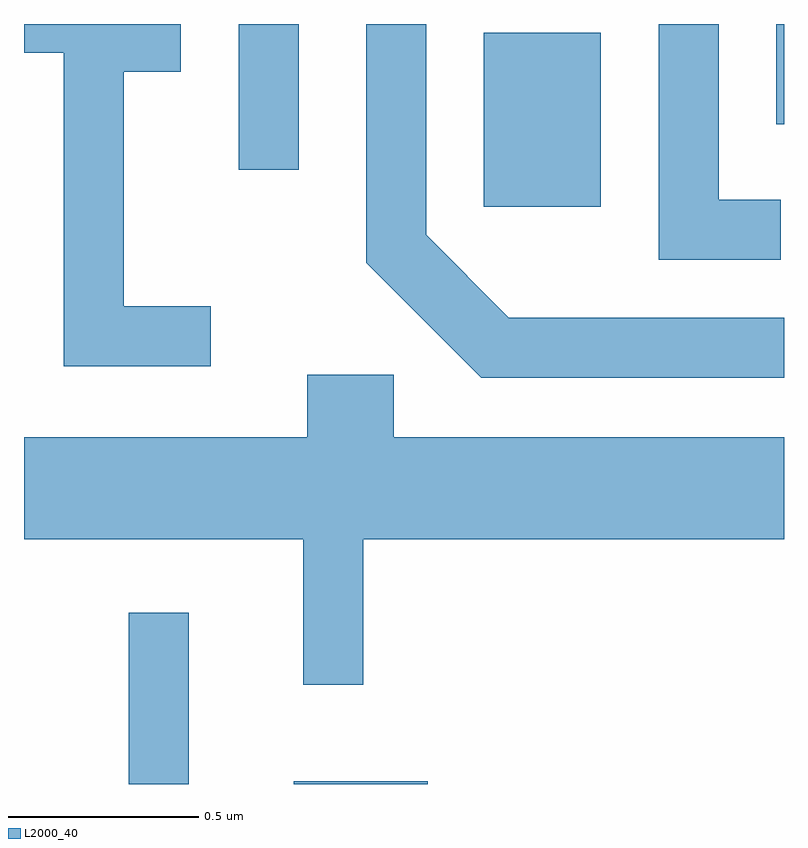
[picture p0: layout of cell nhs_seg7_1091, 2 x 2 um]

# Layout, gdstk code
import gdstk
lib = gdstk.Library(unit=1e-6, precision=1e-09)
def R(c, l, rs):  # rectangles x0, y0, x1, y1
    for r in rs: c.add(gdstk.rectangle(r[:2], r[2:], *l))
def P(c, l, *ps):  # polygons
    for p in ps: c.add(gdstk.Polygon(p, *l))
L2000_40 = (2000, 40)

nhs_seg7_1091 = lib.new_cell('nhs_seg7_1091')
R(nhs_seg7_1091, L2000_40, [(192.886,1800.252,193.044,1800.703), (193.321,1800.252,193.674,1800.259), (193.821,1801.771,194.129,1802.229), (193.176,1801.868,193.334,1802.252), (194.591,1801.988,194.611,1802.252)])
P(nhs_seg7_1091, L2000_40, [(194.603,1801.789),(194.439,1801.789),(194.439,1802.252),(194.281,1802.252),(194.281,1801.631),(194.603,1801.631)],
  [(193.103,1801.509),(192.874,1801.509),(192.874,1802.126),(193.024,1802.126),(193.024,1802.252),(192.611,1802.252),(192.611,1802.176),(192.716,1802.176),(192.716,1801.351),(193.103,1801.351)],
  [(194.611,1801.479),(193.887,1801.479),(193.669,1801.697),(193.669,1802.252),(193.511,1802.252),(193.511,1801.624),(193.814,1801.321),(194.611,1801.321)],
  [(193.504,1800.896),(194.611,1800.896),(194.611,1801.164),(193.584,1801.164),(193.584,1801.329),(193.356,1801.329),(193.356,1801.164),(192.611,1801.164),(192.611,1800.896),(193.346,1800.896),(193.346,1800.513),(193.504,1800.513)])

lib.write_gds('nhs_seg7_1091.gds')
